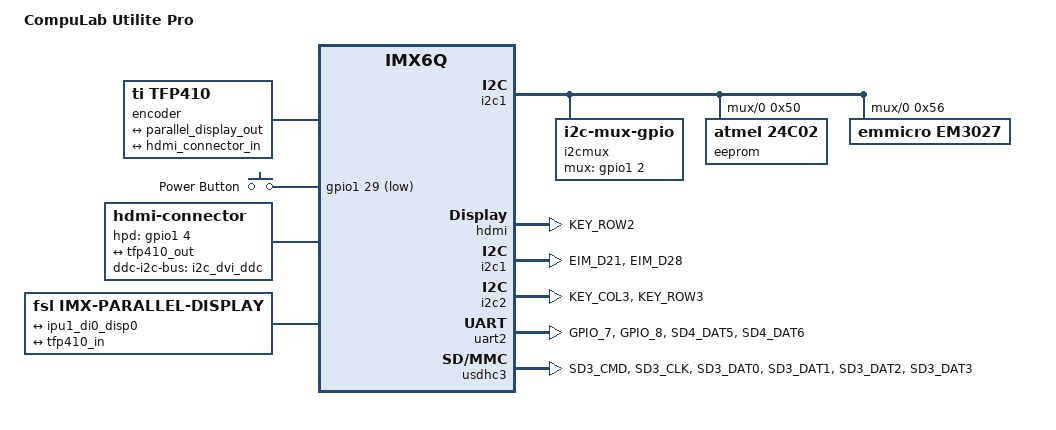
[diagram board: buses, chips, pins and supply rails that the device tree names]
/*
 * Copyright 2013 CompuLab Ltd.
 * Copyright 2016 Christopher Spinrath
 *
 * Based on the devicetree distributed with the vendor kernel for the
 * Utilite Pro:
 *	Copyright 2013 CompuLab Ltd.
 *	Author: Valentin Raevsky <valentin@compulab.co.il>
 *
 * This file is dual-licensed: you can use it either under the terms
 * of the GPL or the X11 license, at your option. Note that this dual
 * licensing only applies to this file, and not this project as a
 * whole.
 *
 *  a) This file is free software; you can redistribute it and/or
 *     modify it under the terms of the GNU General Public License as
 *     published by the Free Software Foundation; either version 2 of the
 *     License, or (at your option) any later version.
 *
 *     This file is distributed in the hope that it will be useful,
 *     but WITHOUT ANY WARRANTY; without even the implied warranty of
 *     MERCHANTABILITY or FITNESS FOR A PARTICULAR PURPOSE.  See the
 *     GNU General Public License for more details.
 *
 * Or, alternatively,
 *
 *  b) Permission is hereby granted, free of charge, to any person
 *     obtaining a copy of this software and associated documentation
 *     files (the "Software"), to deal in the Software without
 *     restriction, including without limitation the rights to use,
 *     copy, modify, merge, publish, distribute, sublicense, and/or
 *     sell copies of the Software, and to permit persons to whom the
 *     Software is furnished to do so, subject to the following
 *     conditions:
 *
 *     The above copyright notice and this permission notice shall be
 *     included in all copies or substantial portions of the Software.
 *
 *     THE SOFTWARE IS PROVIDED "AS IS", WITHOUT WARRANTY OF ANY KIND,
 *     EXPRESS OR IMPLIED, INCLUDING BUT NOT LIMITED TO THE WARRANTIES
 *     OF MERCHANTABILITY, FITNESS FOR A PARTICULAR PURPOSE AND
 *     NONINFRINGEMENT. IN NO EVENT SHALL THE AUTHORS OR COPYRIGHT
 *     HOLDERS BE LIABLE FOR ANY CLAIM, DAMAGES OR OTHER LIABILITY,
 *     WHETHER IN AN ACTION OF CONTRACT, TORT OR OTHERWISE, ARISING
 *     FROM, OUT OF OR IN CONNECTION WITH THE SOFTWARE OR THE USE OR
 *     OTHER DEALINGS IN THE SOFTWARE.
 */

#include <dt-bindings/input/input.h>
#include "imx6q-cm-fx6.dts"

/ {
	model = "CompuLab Utilite Pro";
	compatible = "compulab,utilite-pro", "compulab,cm-fx6", "fsl,imx6q";

	aliases {
		ethernet1 = &eth1;
		rtc0 = &em3027;
		rtc1 = &snvs_rtc;
	};

	encoder {
		compatible = "ti,tfp410";

		ports {
			#address-cells = <1>;
			#size-cells = <0>;

			port@0 {
				reg = <0>;

				tfp410_in: endpoint {
					remote-endpoint = <&parallel_display_out>;
				};
			};

			port@1 {
				reg = <1>;

				tfp410_out: endpoint {
					remote-endpoint = <&hdmi_connector_in>;
				};
			};
		};
	};

	gpio-keys {
		compatible = "gpio-keys";
		pinctrl-names = "default";
		pinctrl-0 = <&pinctrl_gpio_keys>;

		key-power {
			label = "Power Button";
			gpios = <&gpio1 29 GPIO_ACTIVE_LOW>;
			linux,code = <KEY_POWER>;
			wakeup-source;
		};
	};

	hdmi-connector {
		compatible = "hdmi-connector";
		pinctrl-names = "default";
		pinctrl-0 = <&pinctrl_hpd>;
		type = "a";
		ddc-i2c-bus = <&i2c_dvi_ddc>;
		hpd-gpios = <&gpio1 4 GPIO_ACTIVE_HIGH>;

		port {
			hdmi_connector_in: endpoint {
				remote-endpoint = <&tfp410_out>;
			};
		};
	};

	i2cmux {
		compatible = "i2c-mux-gpio";
		pinctrl-names = "default";
		pinctrl-0 = <&pinctrl_i2c1mux>;
		#address-cells = <1>;
		#size-cells = <0>;

		mux-gpios = <&gpio1 2 GPIO_ACTIVE_HIGH>;
		i2c-parent = <&i2c1>;

		i2c@0 {
			reg = <0>;
			#address-cells = <1>;
			#size-cells = <0>;

			eeprom@50 {
				compatible = "atmel,24c02";
				reg = <0x50>;
				pagesize = <16>;
			};

			em3027: rtc@56 {
				compatible = "emmicro,em3027";
				reg = <0x56>;
			};
		};

		i2c_dvi_ddc: i2c@1 {
			reg = <1>;
			#address-cells = <1>;
			#size-cells = <0>;
		};
	};

	parallel-display {
		compatible = "fsl,imx-parallel-display";
		#address-cells = <1>;
		#size-cells = <0>;
		pinctrl-names = "default";
		pinctrl-0 = <&pinctrl_ipu1>;

		interface-pix-fmt = "rgb24";

		port@0 {
			reg = <0>;

			parallel_display_in: endpoint {
				remote-endpoint = <&ipu1_di0_disp0>;
			};
		};

		port@1 {
			reg = <1>;

			parallel_display_out: endpoint {
				remote-endpoint = <&tfp410_in>;
			};
		};
	};
};

/*
 * A single IPU is not able to drive both display interfaces available on the
 * Utilite Pro at high resolution due to its bandwidth limitation. Since the
 * tfp410 encoder is wired up to IPU1, sever the link between IPU1 and the
 * SoC-internal Designware HDMI encoder forcing the latter to be connected to
 * IPU2 instead of IPU1.
 */
/delete-node/&ipu1_di0_hdmi;
/delete-node/&hdmi_mux_0;
/delete-node/&ipu1_di1_hdmi;
/delete-node/&hdmi_mux_1;

&hdmi {
	pinctrl-names = "default";
	pinctrl-0 = <&pinctrl_hdmicec>;
	ddc-i2c-bus = <&i2c2>;
	status = "okay";
};

&i2c1 {
	pinctrl-names = "default";
	pinctrl-0 = <&pinctrl_i2c1>;
	status = "okay";
};

&i2c2 {
	pinctrl-names = "default";
	pinctrl-0 = <&pinctrl_i2c2>;
	status = "okay";
};

&iomuxc {
	pinctrl_gpio_keys: gpio_keysgrp {
		fsl,pins = <
			MX6QDL_PAD_ENET_TXD1__GPIO1_IO29 0x1b0b0
		>;
	};

	pinctrl_hdmicec: hdmicecgrp {
		fsl,pins = <
			MX6QDL_PAD_KEY_ROW2__HDMI_TX_CEC_LINE 0x1f8b0
		>;
	};

	pinctrl_hpd: hpdgrp {
		fsl,pins = <
			MX6QDL_PAD_GPIO_4__GPIO1_IO04 0x1b0b0
		>;
	};

	pinctrl_i2c1: i2c1grp {
		fsl,pins = <
			MX6QDL_PAD_EIM_D21__I2C1_SCL 0x4001b8b1
			MX6QDL_PAD_EIM_D28__I2C1_SDA 0x4001b8b1
		>;
	};

	pinctrl_i2c1mux: i2c1muxgrp {
		fsl,pins = <
			MX6QDL_PAD_GPIO_2__GPIO1_IO02 0x1b0b0
		>;
	};

	pinctrl_i2c2: i2c2grp {
		fsl,pins = <
			MX6QDL_PAD_KEY_COL3__I2C2_SCL 0x4001b8b1
			MX6QDL_PAD_KEY_ROW3__I2C2_SDA 0x4001b8b1
		>;
	};

	pinctrl_ipu1: ipu1grp {
		fsl,pins = <
			MX6QDL_PAD_DI0_DISP_CLK__IPU1_DI0_DISP_CLK 0x38
			MX6QDL_PAD_DI0_PIN15__IPU1_DI0_PIN15       0x38
			MX6QDL_PAD_DI0_PIN2__IPU1_DI0_PIN02        0x38
			MX6QDL_PAD_DI0_PIN3__IPU1_DI0_PIN03        0x38
			MX6QDL_PAD_DISP0_DAT0__IPU1_DISP0_DATA00   0x38
			MX6QDL_PAD_DISP0_DAT1__IPU1_DISP0_DATA01   0x38
			MX6QDL_PAD_DISP0_DAT2__IPU1_DISP0_DATA02   0x38
			MX6QDL_PAD_DISP0_DAT3__IPU1_DISP0_DATA03   0x38
			MX6QDL_PAD_DISP0_DAT4__IPU1_DISP0_DATA04   0x38
			MX6QDL_PAD_DISP0_DAT5__IPU1_DISP0_DATA05   0x38
			MX6QDL_PAD_DISP0_DAT6__IPU1_DISP0_DATA06   0x38
			MX6QDL_PAD_DISP0_DAT7__IPU1_DISP0_DATA07   0x38
			MX6QDL_PAD_DISP0_DAT8__IPU1_DISP0_DATA08   0x38
			MX6QDL_PAD_DISP0_DAT9__IPU1_DISP0_DATA09   0x38
			MX6QDL_PAD_DISP0_DAT10__IPU1_DISP0_DATA10  0x38
			MX6QDL_PAD_DISP0_DAT11__IPU1_DISP0_DATA11  0x38
			MX6QDL_PAD_DISP0_DAT12__IPU1_DISP0_DATA12  0x38
			MX6QDL_PAD_DISP0_DAT13__IPU1_DISP0_DATA13  0x38
			MX6QDL_PAD_DISP0_DAT14__IPU1_DISP0_DATA14  0x38
			MX6QDL_PAD_DISP0_DAT15__IPU1_DISP0_DATA15  0x38
			MX6QDL_PAD_DISP0_DAT16__IPU1_DISP0_DATA16  0x38
			MX6QDL_PAD_DISP0_DAT17__IPU1_DISP0_DATA17  0x38
			MX6QDL_PAD_DISP0_DAT18__IPU1_DISP0_DATA18  0x38
			MX6QDL_PAD_DISP0_DAT19__IPU1_DISP0_DATA19  0x38
			MX6QDL_PAD_DISP0_DAT20__IPU1_DISP0_DATA20  0x38
			MX6QDL_PAD_DISP0_DAT21__IPU1_DISP0_DATA21  0x38
			MX6QDL_PAD_DISP0_DAT22__IPU1_DISP0_DATA22  0x38
			MX6QDL_PAD_DISP0_DAT23__IPU1_DISP0_DATA23  0x38
		>;
	};

	pinctrl_uart2: uart2grp {
		fsl,pins = <
			MX6QDL_PAD_GPIO_7__UART2_TX_DATA 0x1b0b1
			MX6QDL_PAD_GPIO_8__UART2_RX_DATA 0x1b0b1
			MX6QDL_PAD_SD4_DAT5__UART2_RTS_B 0x1b0b1
			MX6QDL_PAD_SD4_DAT6__UART2_CTS_B 0x1b0b1
		>;
	};

	pinctrl_usdhc3: usdhc3grp {
		fsl,pins = <
			MX6QDL_PAD_SD3_CMD__SD3_CMD	0x17059
			MX6QDL_PAD_SD3_CLK__SD3_CLK	0x10059
			MX6QDL_PAD_SD3_DAT0__SD3_DATA0	0x17059
			MX6QDL_PAD_SD3_DAT1__SD3_DATA1	0x17059
			MX6QDL_PAD_SD3_DAT2__SD3_DATA2	0x17059
			MX6QDL_PAD_SD3_DAT3__SD3_DATA3	0x17059
		>;
	};

	pinctrl_usdhc3_100mhz: usdhc3grp-100mhz {
		fsl,pins = <
			MX6QDL_PAD_SD3_CMD__SD3_CMD	0x170B9
			MX6QDL_PAD_SD3_CLK__SD3_CLK	0x100B9
			MX6QDL_PAD_SD3_DAT0__SD3_DATA0	0x170B9
			MX6QDL_PAD_SD3_DAT1__SD3_DATA1	0x170B9
			MX6QDL_PAD_SD3_DAT2__SD3_DATA2	0x170B9
			MX6QDL_PAD_SD3_DAT3__SD3_DATA3	0x170B9
		>;
	};

	pinctrl_usdhc3_200mhz: usdhc3grp-200mhz {
		fsl,pins = <
			MX6QDL_PAD_SD3_CMD__SD3_CMD	0x170F9
			MX6QDL_PAD_SD3_CLK__SD3_CLK	0x100F9
			MX6QDL_PAD_SD3_DAT0__SD3_DATA0	0x170F9
			MX6QDL_PAD_SD3_DAT1__SD3_DATA1	0x170F9
			MX6QDL_PAD_SD3_DAT2__SD3_DATA2	0x170F9
			MX6QDL_PAD_SD3_DAT3__SD3_DATA3	0x170F9
		>;
	};
};

&ipu1_di0_disp0 {
	remote-endpoint = <&parallel_display_in>;
};

&pcie {
	pcie@0,0 {
		reg = <0x000000 0 0 0 0>;
		#address-cells = <3>;
		#size-cells = <2>;

		/* non-removable i211 ethernet card */
		eth1: intel,i211@pcie0,0 {
			reg = <0x010000 0 0 0 0>;
		};
	};
};

&uart2 {
	pinctrl-names = "default";
	pinctrl-0 = <&pinctrl_uart2>;
	uart-has-rtscts;
	status = "okay";
};

&usdhc3 {
	pinctrl-names = "default", "state_100mhz", "state_200mhz";
	pinctrl-0 = <&pinctrl_usdhc3>;
	pinctrl-1 = <&pinctrl_usdhc3_100mhz>;
	pinctrl-2 = <&pinctrl_usdhc3_200mhz>;
	no-1-8-v;
	broken-cd;
	keep-power-in-suspend;
	status = "okay";
};
